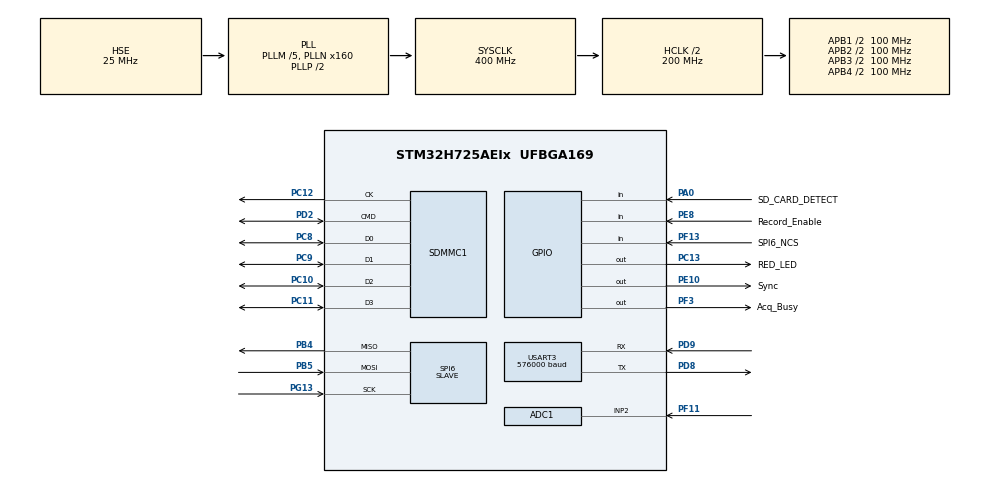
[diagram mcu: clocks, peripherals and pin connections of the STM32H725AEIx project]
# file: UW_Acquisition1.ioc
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ADC1.Channel-0\#ChannelRegularConversion=ADC_CHANNEL_2
ADC1.ClockPrescaler=ADC_CLOCK_ASYNC_DIV4
ADC1.ContinuousConvMode=ENABLE
ADC1.ConversionDataManagement=ADC_CONVERSIONDATA_DMA_CIRCULAR
ADC1.NbrOfConversionFlag=1
ADC1.OffsetNumber-0\#ChannelRegularConversion=ADC_OFFSET_NONE
ADC1.OffsetSignedSaturation-0\#ChannelRegularConversion=DISABLE
ADC1.Rank-0\#ChannelRegularConversion=1
ADC1.SamplingTime-0\#ChannelRegularConversion=ADC_SAMPLETIME_1CYCLE_5
ADC1.master=1
Dma.ADC1.0.Direction=DMA_PERIPH_TO_MEMORY
Dma.ADC1.0.EventEnable=DISABLE
Dma.ADC1.0.FIFOMode=DMA_FIFOMODE_DISABLE
Dma.ADC1.0.Instance=DMA1_Stream0
Dma.ADC1.0.MemDataAlignment=DMA_MDATAALIGN_HALFWORD
Dma.ADC1.0.MemInc=DMA_MINC_ENABLE
Dma.ADC1.0.Mode=DMA_CIRCULAR
Dma.ADC1.0.PeriphDataAlignment=DMA_PDATAALIGN_HALFWORD
Dma.ADC1.0.PeriphInc=DMA_PINC_DISABLE
Dma.ADC1.0.Polarity=HAL_DMAMUX_REQ_GEN_RISING
Dma.ADC1.0.Priority=DMA_PRIORITY_HIGH
Dma.ADC1.0.RequestNumber=1
Dma.ADC1.0.SignalID=NONE
Dma.ADC1.0.SyncEnable=DISABLE
Dma.ADC1.0.SyncPolarity=HAL_DMAMUX_SYNC_NO_EVENT
Dma.ADC1.0.SyncRequestNumber=1
Dma.ADC1.0.SyncSignalID=NONE
Dma.Request0=ADC1
FATFS.BSP.number=1
FATFS.USE_DMA_CODE_SD=1
FATFS._MAX_SS=4096
FATFS._USE_CHMOD=1
FATFS._USE_FIND=1
FATFS._USE_LABEL=1
FATFS0.BSP.STBoard=false
FATFS0.BSP.api=Unknown
FATFS0.BSP.instance=PA0
FATFS0.BSP.ip=GPIO
FATFS0.BSP.mode=Input
FATFS0.BSP.name=Detect_SDIO
FATFS0.BSP.solution=PA0
Mcu.Family=STM32H7
Mcu.Name=STM32H725AEIx
Mcu.Package=UFBGA169
Mdma.MDMA_Channel0.Request0=SDMMC1_END_DATA
Mdma.MDMA_Channel0.RequestsNb=1
Mdma.MDMA_Channel0.SDMMC1_END_DATA.0.BlockCount=0
Mdma.MDMA_Channel0.SDMMC1_END_DATA.0.BlockDataLength=0
Mdma.MDMA_Channel0.SDMMC1_END_DATA.0.BufferTransferLength=1
Mdma.MDMA_Channel0.SDMMC1_END_DATA.0.CircularMode=MDMA_LINEAR_LIST
Mdma.MDMA_Channel0.SDMMC1_END_DATA.0.DataAlignment=MDMA_DATAALIGN_PACKENABLE
Mdma.MDMA_Channel0.SDMMC1_END_DATA.0.DestBlockAddressOffset=0
Mdma.MDMA_Channel0.SDMMC1_END_DATA.0.DestBurst=MDMA_DEST_BURST_SINGLE
Mdma.MDMA_Channel0.SDMMC1_END_DATA.0.DestDataSize=MDMA_DEST_DATASIZE_BYTE
Mdma.MDMA_Channel0.SDMMC1_END_DATA.0.DestinationInc=MDMA_DEST_INC_BYTE
Mdma.MDMA_Channel0.SDMMC1_END_DATA.0.DstAddress=0
Mdma.MDMA_Channel0.SDMMC1_END_DATA.0.Endianness=MDMA_LITTLE_ENDIANNESS_PRESERVE
Mdma.MDMA_Channel0.SDMMC1_END_DATA.0.Instance=MDMA_Channel0
Mdma.MDMA_Channel0.SDMMC1_END_DATA.0.MaskAddress=0
Mdma.MDMA_Channel0.SDMMC1_END_DATA.0.MaskData=0
Mdma.MDMA_Channel0.SDMMC1_END_DATA.0.Priority=MDMA_PRIORITY_LOW
Mdma.MDMA_Channel0.SDMMC1_END_DATA.0.Rank=First
Mdma.MDMA_Channel0.SDMMC1_END_DATA.0.SourceBlockAddressOffset=0
Mdma.MDMA_Channel0.SDMMC1_END_DATA.0.SourceBurst=MDMA_SOURCE_BURST_SINGLE
Mdma.MDMA_Channel0.SDMMC1_END_DATA.0.SourceDataSize=MDMA_SRC_DATASIZE_BYTE
Mdma.MDMA_Channel0.SDMMC1_END_DATA.0.SourceInc=MDMA_SRC_INC_BYTE
Mdma.MDMA_Channel0.SDMMC1_END_DATA.0.SrcAddress=0
Mdma.MDMA_Channel0.SDMMC1_END_DATA.0.TransferTriggerMode=MDMA_BUFFER_TRANSFER
Mdma.RequestSet0=MDMA_Channel0
Mdma.RequestSetsNb=1
NVIC.ADC_IRQn=true\:0\:0\:false\:false\:true\:true\:true\:true
NVIC.DMA1_Stream0_IRQn=true\:0\:0\:false\:false\:true\:false\:true\:true
NVIC.MDMA_IRQn=true\:0\:0\:false\:false\:true\:true\:true\:true
NVIC.PriorityGroup=NVIC_PRIORITYGROUP_4
NVIC.SDMMC1_IRQn=true\:0\:0\:false\:false\:true\:true\:true\:true
NVIC.USART3_IRQn=true\:0\:0\:false\:false\:true\:true\:true\:true
PA0.GPIO_Label=SD_CARD_DETECT
PA0.GPIO_Mode=GPIO_MODE_INPUT
PA0.GPIO_PuPd=GPIO_PULLDOWN
PA0.Signal=GPIO_Input
PB4(NJTRST).Mode=Full_Duplex_Slave
PB4(NJTRST).Signal=SPI6_MISO
PB5.Mode=Full_Duplex_Slave
PB5.Signal=SPI6_MOSI
PC10.Mode=SD_4_bits_Wide_bus
PC10.Signal=SDMMC1_D2
PC11.Mode=SD_4_bits_Wide_bus
PC11.Signal=SDMMC1_D3
PC12.Mode=SD_4_bits_Wide_bus
PC12.Signal=SDMMC1_CK
PC13.GPIO_Label=RED_LED
PC13.Signal=GPIO_Output
PC14-OSC32_IN.Mode=LSE-External-Oscillator
PC14-OSC32_IN.Signal=RCC_OSC32_IN
PC15-OSC32_OUT.Mode=LSE-External-Oscillator
PC15-OSC32_OUT.Signal=RCC_OSC32_OUT
PC8.Mode=SD_4_bits_Wide_bus
PC8.Signal=SDMMC1_D0
PC9.Mode=SD_4_bits_Wide_bus
PC9.Signal=SDMMC1_D1
PD2.Mode=SD_4_bits_Wide_bus
PD2.Signal=SDMMC1_CMD
PD8.Mode=Asynchronous
PD8.Signal=USART3_TX
PD9.Mode=Asynchronous
PD9.Signal=USART3_RX
PE10.GPIO_Label=Sync
PE10.Signal=GPIO_Output
PE8.GPIO_Label=Record_Enable
PE8.GPIO_PuPd=GPIO_PULLDOWN
PE8.Signal=GPIO_Input
PF11.Mode=IN2-Single-Ended
PF11.Signal=ADC1_INP2
PF13.GPIO_Label=SPI6_NCS
PF13.GPIO_Mode=GPIO_MODE_INPUT
PF13.GPIO_PuPd=GPIO_PULLUP
PF13.Signal=GPIO_Input
PF3.GPIO_Label=Acq_Busy
PF3.GPIO_ModeDefaultOutputPP=GPIO_MODE_OUTPUT_PP
PF3.GPIO_PuPd=GPIO_PULLUP
PF3.GPIO_Speed=GPIO_SPEED_FREQ_HIGH
PF3.PinState=GPIO_PIN_SET
PF3.Signal=GPIO_Output
PG13.Mode=Full_Duplex_Slave
PG13.Signal=SPI6_SCK
PH0-OSC_IN.Mode=HSE-External-Oscillator
PH0-OSC_IN.Signal=RCC_OSC_IN
PH1-OSC_OUT.Mode=HSE-External-Oscillator
PH1-OSC_OUT.Signal=RCC_OSC_OUT
ProjectManager.HeapSize=0x200
ProjectManager.StackSize=0x400
ProjectManager.TargetToolchain=STM32CubeIDE
RCC.ADCCLockSelection=RCC_ADCCLKSOURCE_CLKP
RCC.ADCFreq_Value=64000000
RCC.APB1Freq_Value=100000000
RCC.APB2Freq_Value=100000000
RCC.APB3Freq_Value=100000000
RCC.APB4Freq_Value=100000000
RCC.CortexFreq_Value=400000000
RCC.D1PPRE=RCC_APB3_DIV2
RCC.D2PPRE1=RCC_APB1_DIV2
RCC.D2PPRE2=RCC_APB2_DIV2
RCC.D3PPRE=RCC_APB4_DIV2
RCC.DIVM1=5
RCC.DIVM2=5
RCC.DIVN1=160
RCC.DIVN2=150
RCC.DIVQ1=4
RCC.DIVR1=1
RCC.DIVR2=6
RCC.HCLKFreq_Value=200000000
RCC.HPRE=RCC_HCLK_DIV2
RCC.PLL2FRACN=0
RCC.PLL3FRACN=0
RCC.PLL3_VCI_Range-AdvancedSettings=RCC_PLL3VCIRANGE_3
RCC.PLLFRACN=0
RCC.PLLSourceVirtual=RCC_PLLSOURCE_HSE
RCC.SDMMC1CLockSelection=RCC_SDMMCCLKSOURCE_PLL2
RCC.SYSCLKFreq_VALUE=400000000
RCC.SYSCLKSource=RCC_SYSCLKSOURCE_PLLCLK
RCC.USBFreq_Value=200000000
SDMMC1.ClockDiv=2
SPI6.DataSize=SPI_DATASIZE_8BIT
SPI6.Direction=SPI_DIRECTION_2LINES
SPI6.Mode=SPI_MODE_SLAVE
SPI6.VirtualType=VM_SLAVE
USART3.BaudRate=576000
USART3.VirtualMode-Asynchronous=VM_ASYNC
VP_FATFS_VS_SDIO.Mode=SDIO
VP_RTC_VS_RTC_Activate.Mode=RTC_Enabled
VP_RTC_VS_RTC_Calendar.Mode=RTC_Calendar
board=custom

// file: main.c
/* USER CODE BEGIN Header */
/**
 ******************************************************************************
 * @file           : main.c
 * @brief          : Main program body
 ******************************************************************************
 * @attention
 *
 * Copyright (c) 2023 STMicroelectronics.
 * All rights reserved.
 *
 * This software is licensed under terms that can be found in the LICENSE file
 * in the root directory of this software component.
 * If no LICENSE file comes with this software, it is provided AS-IS.
 *
 ******************************************************************************
 */
/* USER CODE END Header */
#include "main.h"
#include "fatfs.h"

/* USER CODE BEGIN Includes */
#include "stdio.h"
#include "string.h"
#include "wav.h"
/* USER CODE END Includes */

/* USER CODE BEGIN PD */
/* ADC -----------------------------------------------------------------------*/
#define ADCBUFLEN 32768
#define BUFFER_FULL 1
#define BUFFER_EMPTY 0
/* SPI Message codes ---------------------------------------------------------*/
#define DIRECTORY 0x00
#define RECORD 0x01
#define STOP 0x02
#define DATETIME 0x03
#define LOCATION  0x04
#define SAVE 0x05
#define FORMAT 0x06
#define DELETE 0x07
#define FILEXFER 0x08

/* USER CODE END PD */

ADC_HandleTypeDef hadc1;
DMA_HandleTypeDef hdma_adc1;

RTC_HandleTypeDef hrtc;

SD_HandleTypeDef hsd1;

SPI_HandleTypeDef hspi6;

UART_HandleTypeDef huart3;

MDMA_HandleTypeDef hmdma_mdma_channel0_sdmmc1_end_data_0;
/* USER CODE BEGIN PV */
/* ADC Variables--------------------------------------------------------------*/
uint16_t adc_buf[ADCBUFLEN];
uint16_t adc_lower_status = BUFFER_EMPTY;
uint16_t adc_upper_status = BUFFER_EMPTY;
uint32_t millisecs_to_record=0;
int sampling_frequency_kHz=0;
uint32_t end_acq_ms;
uint32_t bytes_written=0;
uint32_t bytes_read=0;
uint32_t total_bytes_written=0;
uint32_t total_blocks_written=0;
uint32_t read_value=0;
uint32_t adcbuf_index=0;

uint16_t max_save_time_ms;
uint16_t start_time_ms,ms_taken;
uint32_t save_times[400];
int ADC_overrun =0; // set as FALSE
int overrun_count;

/* SD Card FatFS Variables-----------------------------------------------------*/
FRESULT result; /* FatFs function common result code */
FILINFO fno;
char full_path_name[256];
char filename[20];
char fullfilename[20];
char filenumber[6];
char filenametosave[15];
char filenametodelete[15];

FATFS *fs;
DWORD fre_clust, fre_sect, tot_sect;

BYTE work[_MAX_SS]; // for formatting SD

char *SD_Directory2;
int directory_lines=5;
char SD_space_description[150];

uint16_t current_max_filenumber=0;
uint32_t filelength;
uint16_t filereadint;
uint32_t file_byte_count=0;
int16_t filevalue;

/* SPI Variables---------------------------------------------------------------*/
char SPI_buffer[20];
uint16_t SPI_Buffer[4];
uint16_t SPI6_NCS;
uint16_t previous_CS;
uint16_t current_CS;

/* WAV File--------------------------------------------------------------------*/
/*
 * Structure of Header and header variable
 */
typedef struct wavfile_header_s
{
	char    ChunkID[4];     /*  4   */
	uint32_t ChunkSize;      /*  4   */
	char    Format[4];      /*  4   */

	char    Subchunk1ID[4]; /*  4   */
	uint32_t Subchunk1Size;  /*  4   */
	uint16_t AudioFormat;    /*  2   */
	uint16_t NumChannels;    /*  2   */
	uint32_t SampleRate;     /*  4   */
	uint32_t ByteRate;       /*  4   */
	uint16_t BlockAlign;     /*  2   */
	uint16_t BitsPerSample;  /*  2   */

	char    Subchunk2ID[4];
	uint32_t Subchunk2Size;
} wavfile_header_t;

/* RTC Variables---------------------------------------------------------------*/
RTC_DateTypeDef gDate;
RTC_TimeTypeDef gTime;

/* USER CODE END PV */

void SystemClock_Config(void);
void PeriphCommonClock_Config(void);
static void MX_GPIO_Init(void);
static void MX_MDMA_Init(void);
static void MX_DMA_Init(void);
static void MX_ADC1_Init(void);
static void MX_SDMMC1_SD_Init(void);
static void MX_USART3_UART_Init(void);
static void MX_SPI6_Init(void);
static void MX_RTC_Init(void);
/* USER CODE BEGIN PFP */
FRESULT print_file_values(char *filename );
FRESULT scan_for_latest_file (char* path);
FRESULT get_SD_directory (char* path);
FRESULT print_file(char *filename);
int write_wav_header(int32_t SampleRate,int32_t FrameCount);
void directory_request_handler();
void recording_request_handler();
void save_request_handler();
void datetime_request_handler();
void delete_file_handler();
void set_ADC_clock_prescalar(int sampling_fr);
void file_transfer_request_handler();

/* USER CODE END PFP */

int main(void)
{
  /* USER CODE BEGIN 1 */
	/* ADC Testing and writing to SD Card*/
  /* USER CODE END 1 */

  /* MCU Configuration--------------------------------------------------------*/

  /* Reset of all peripherals, Initializes the Flash interface and the Systick. */
  HAL_Init();

  /* Configure the system clock */
  SystemClock_Config();

/* Configure the peripherals common clocks */
  PeriphCommonClock_Config();

  /* Initialize all configured peripherals */
  MX_GPIO_Init();
  MX_MDMA_Init();
  MX_DMA_Init();
  MX_ADC1_Init();
  MX_SDMMC1_SD_Init();
  MX_FATFS_Init();
  MX_USART3_UART_Init();
  MX_SPI6_Init();
  MX_RTC_Init();
  /* USER CODE BEGIN 2 */

	printf("\r\nProgram Start\r\n");

	// Let's check the file system and mount it
	f_mount(0, "", 0);
	if(f_mount(&SDFatFS, (TCHAR const*)SDPath, 0) != FR_OK)
	{
		printf("PANIC: Cannot mount SD Card\r\n");
		for(;;){}
	}
	// Scan to find largest file number
	strcpy(full_path_name, "/");
	if(scan_for_latest_file(full_path_name) != FR_OK)
	{
		printf("PANIC: Cannot scan SD card\r\n");
		for(;;){}
	}

	HAL_GPIO_WritePin(Acq_Busy_GPIO_Port, Acq_Busy_Pin, GPIO_PIN_RESET);  // Tell the RASPI we are Not Busy
	previous_CS=HAL_GPIO_ReadPin (SPI6_NCS_GPIO_Port, SPI6_NCS_Pin);  // Need to detect and wait for change in SPI CS (Chip Select)
	current_CS = previous_CS;

	for(;;){
		HAL_GPIO_WritePin(Acq_Busy_GPIO_Port, Acq_Busy_Pin, GPIO_PIN_RESET);  // Tell RASPI we are Ready
		current_CS=HAL_GPIO_ReadPin (SPI6_NCS_GPIO_Port, SPI6_NCS_Pin);

		if(previous_CS && !current_CS){
			HAL_SPI_Receive(&hspi6, (uint8_t *)SPI_buffer, 8, 100);
			HAL_GPIO_WritePin(Acq_Busy_GPIO_Port, Acq_Busy_Pin, GPIO_PIN_SET);  // Tell the RASPI we are Busy
			printf("%02x %02x %02x %02x %02x %02x %02x %02x\r\n",SPI_buffer[0],SPI_buffer[1],SPI_buffer[2],SPI_buffer[3],SPI_buffer[4],SPI_buffer[5],SPI_buffer[6],SPI_buffer[7]);
			switch(SPI_buffer[0]){

			case DIRECTORY:
				printf("SD Directory Request\r\n");
				directory_request_handler();
				break;

			case RECORD:
				printf("Recording Request\r\n");
				recording_request_handler();
				break;

			case SAVE:
				printf("Save\r\n");
				save_request_handler();
				break;

			case DATETIME:
				printf("Set DateTime\r\n");
				datetime_request_handler();
				break;

			case STOP: // Not supported
				printf("Stop   ");
				break;

			case LOCATION:// Not supported
				printf("Location\r\n");
				break;

			case FORMAT:// Format SD card
				printf("Format SD - Sector size %d\r\n",sizeof(work));
				result= f_mkfs("", FM_ANY, 0, work, sizeof(work));
				current_max_filenumber=1;
				break;

			case DELETE:// Delete file
				printf("Delete File\r\n");
				delete_file_handler();
				break;

			case FILEXFER:
				printf("File Transfer\r\n");
				file_transfer_request_handler();
				break;
			}
		}
		previous_CS=current_CS;

	}
  /* USER CODE END 2 */

  /* Infinite loop */

}

void SystemClock_Config(void)
{
  RCC_OscInitTypeDef RCC_OscInitStruct = {0};
  RCC_ClkInitTypeDef RCC_ClkInitStruct = {0};

  /** Supply configuration update enable
  */
  HAL_PWREx_ConfigSupply(PWR_DIRECT_SMPS_SUPPLY);

  /** Configure the main internal regulator output voltage
  */
  __HAL_PWR_VOLTAGESCALING_CONFIG(PWR_REGULATOR_VOLTAGE_SCALE1);

  while(!__HAL_PWR_GET_FLAG(PWR_FLAG_VOSRDY)) {}

  /** Initializes the RCC Oscillators according to the specified parameters
  * in the RCC_OscInitTypeDef structure.
  */
  RCC_OscInitStruct.OscillatorType = RCC_OSCILLATORTYPE_HSI|RCC_OSCILLATORTYPE_LSI
                              |RCC_OSCILLATORTYPE_HSE;
  RCC_OscInitStruct.HSEState = RCC_HSE_ON;
  RCC_OscInitStruct.HSIState = RCC_HSI_DIV1;
  RCC_OscInitStruct.HSICalibrationValue = 64;
  RCC_OscInitStruct.LSIState = RCC_LSI_ON;
  RCC_OscInitStruct.PLL.PLLState = RCC_PLL_ON;
  RCC_OscInitStruct.PLL.PLLSource = RCC_PLLSOURCE_HSE;
  RCC_OscInitStruct.PLL.PLLM = 5;
  RCC_OscInitStruct.PLL.PLLN = 160;
  RCC_OscInitStruct.PLL.PLLP = 2;
  RCC_OscInitStruct.PLL.PLLQ = 4;
  RCC_OscInitStruct.PLL.PLLR = 1;
  RCC_OscInitStruct.PLL.PLLRGE = RCC_PLL1VCIRANGE_2;
  RCC_OscInitStruct.PLL.PLLVCOSEL = RCC_PLL1VCOWIDE;
  RCC_OscInitStruct.PLL.PLLFRACN = 0;
  if (HAL_RCC_OscConfig(&RCC_OscInitStruct) != HAL_OK)
  {
    Error_Handler();
  }

  /** Initializes the CPU, AHB and APB buses clocks
  */
  RCC_ClkInitStruct.ClockType = RCC_CLOCKTYPE_HCLK|RCC_CLOCKTYPE_SYSCLK
                              |RCC_CLOCKTYPE_PCLK1|RCC_CLOCKTYPE_PCLK2
                              |RCC_CLOCKTYPE_D3PCLK1|RCC_CLOCKTYPE_D1PCLK1;
  RCC_ClkInitStruct.SYSCLKSource = RCC_SYSCLKSOURCE_PLLCLK;
  RCC_ClkInitStruct.SYSCLKDivider = RCC_SYSCLK_DIV1;
  RCC_ClkInitStruct.AHBCLKDivider = RCC_HCLK_DIV2;
  RCC_ClkInitStruct.APB3CLKDivider = RCC_APB3_DIV2;
  RCC_ClkInitStruct.APB1CLKDivider = RCC_APB1_DIV2;
  RCC_ClkInitStruct.APB2CLKDivider = RCC_APB2_DIV2;
  RCC_ClkInitStruct.APB4CLKDivider = RCC_APB4_DIV2;

  if (HAL_RCC_ClockConfig(&RCC_ClkInitStruct, FLASH_LATENCY_2) != HAL_OK)
  {
    Error_Handler();
  }
}

void PeriphCommonClock_Config(void)
{
  RCC_PeriphCLKInitTypeDef PeriphClkInitStruct = {0};

  /** Initializes the peripherals clock
  */
  PeriphClkInitStruct.PeriphClockSelection = RCC_PERIPHCLK_CKPER;
  PeriphClkInitStruct.CkperClockSelection = RCC_CLKPSOURCE_HSI;
  if (HAL_RCCEx_PeriphCLKConfig(&PeriphClkInitStruct) != HAL_OK)
  {
    Error_Handler();
  }
}

static void MX_ADC1_Init(void)
{

  ADC_MultiModeTypeDef multimode = {0};
  ADC_ChannelConfTypeDef sConfig = {0};

  /** Common config
  */
  hadc1.Instance = ADC1;
  hadc1.Init.ClockPrescaler = ADC_CLOCK_ASYNC_DIV4;
  hadc1.Init.Resolution = ADC_RESOLUTION_16B;
  hadc1.Init.ScanConvMode = ADC_SCAN_DISABLE;
  hadc1.Init.EOCSelection = ADC_EOC_SINGLE_CONV;
  hadc1.Init.LowPowerAutoWait = DISABLE;
  hadc1.Init.ContinuousConvMode = ENABLE;
  hadc1.Init.NbrOfConversion = 1;
  hadc1.Init.DiscontinuousConvMode = DISABLE;
  hadc1.Init.ExternalTrigConv = ADC_SOFTWARE_START;
  hadc1.Init.ExternalTrigConvEdge = ADC_EXTERNALTRIGCONVEDGE_NONE;
  hadc1.Init.ConversionDataManagement = ADC_CONVERSIONDATA_DMA_CIRCULAR;
  hadc1.Init.Overrun = ADC_OVR_DATA_PRESERVED;
  hadc1.Init.LeftBitShift = ADC_LEFTBITSHIFT_NONE;
  hadc1.Init.OversamplingMode = DISABLE;
  if (HAL_ADC_Init(&hadc1) != HAL_OK)
  {
    Error_Handler();
  }

  /** Configure the ADC multi-mode
  */
  multimode.Mode = ADC_MODE_INDEPENDENT;
  if (HAL_ADCEx_MultiModeConfigChannel(&hadc1, &multimode) != HAL_OK)
  {
    Error_Handler();
  }

  /** Configure Regular Channel
  */
  sConfig.Channel = ADC_CHANNEL_2;
  sConfig.Rank = ADC_REGULAR_RANK_1;
  sConfig.SamplingTime = ADC_SAMPLETIME_1CYCLE_5;
  sConfig.SingleDiff = ADC_SINGLE_ENDED;
  sConfig.OffsetNumber = ADC_OFFSET_NONE;
  sConfig.Offset = 0;
  sConfig.OffsetSignedSaturation = DISABLE;
  if (HAL_ADC_ConfigChannel(&hadc1, &sConfig) != HAL_OK)
  {
    Error_Handler();
  }

}

static void MX_RTC_Init(void)
{

  RTC_TimeTypeDef sTime = {0};
  RTC_DateTypeDef sDate = {0};

  /** Initialize RTC Only
  */
  hrtc.Instance = RTC;
  hrtc.Init.HourFormat = RTC_HOURFORMAT_24;
  hrtc.Init.AsynchPrediv = 127;
  hrtc.Init.SynchPrediv = 255;
  hrtc.Init.OutPut = RTC_OUTPUT_DISABLE;
  hrtc.Init.OutPutPolarity = RTC_OUTPUT_POLARITY_HIGH;
  hrtc.Init.OutPutType = RTC_OUTPUT_TYPE_OPENDRAIN;
  hrtc.Init.OutPutRemap = RTC_OUTPUT_REMAP_NONE;
  if (HAL_RTC_Init(&hrtc) != HAL_OK)
  {
    Error_Handler();
  }

  /** Initialize RTC and set the Time and Date
  */
  sTime.Hours = 0x0;
  sTime.Minutes = 0x0;
  sTime.Seconds = 0x0;
  sTime.DayLightSaving = RTC_DAYLIGHTSAVING_NONE;
  sTime.StoreOperation = RTC_STOREOPERATION_RESET;
  if (HAL_RTC_SetTime(&hrtc, &sTime, RTC_FORMAT_BCD) != HAL_OK)
  {
    Error_Handler();
  }
  sDate.WeekDay = RTC_WEEKDAY_MONDAY;
  sDate.Month = RTC_MONTH_JANUARY;
  sDate.Date = 0x1;
  sDate.Year = 0x0;

  if (HAL_RTC_SetDate(&hrtc, &sDate, RTC_FORMAT_BCD) != HAL_OK)
  {
    Error_Handler();
  }

}

static void MX_SDMMC1_SD_Init(void)
{

  hsd1.Instance = SDMMC1;
  hsd1.Init.ClockEdge = SDMMC_CLOCK_EDGE_RISING;
  hsd1.Init.ClockPowerSave = SDMMC_CLOCK_POWER_SAVE_DISABLE;
  hsd1.Init.BusWide = SDMMC_BUS_WIDE_4B;
  hsd1.Init.HardwareFlowControl = SDMMC_HARDWARE_FLOW_CONTROL_DISABLE;
  hsd1.Init.ClockDiv = 2;

}

static void MX_SPI6_Init(void)
{

  /* SPI6 parameter configuration*/
  hspi6.Instance = SPI6;
  hspi6.Init.Mode = SPI_MODE_SLAVE;
  hspi6.Init.Direction = SPI_DIRECTION_2LINES;
  hspi6.Init.DataSize = SPI_DATASIZE_8BIT;
  hspi6.Init.CLKPolarity = SPI_POLARITY_LOW;
  hspi6.Init.CLKPhase = SPI_PHASE_1EDGE;
  hspi6.Init.NSS = SPI_NSS_SOFT;
  hspi6.Init.FirstBit = SPI_FIRSTBIT_MSB;
  hspi6.Init.TIMode = SPI_TIMODE_DISABLE;
  hspi6.Init.CRCCalculation = SPI_CRCCALCULATION_DISABLE;
  hspi6.Init.CRCPolynomial = 0x0;
  hspi6.Init.NSSPMode = SPI_NSS_PULSE_DISABLE;
  hspi6.Init.NSSPolarity = SPI_NSS_POLARITY_LOW;
  hspi6.Init.FifoThreshold = SPI_FIFO_THRESHOLD_01DATA;
  hspi6.Init.TxCRCInitializationPattern = SPI_CRC_INITIALIZATION_ALL_ZERO_PATTERN;
  hspi6.Init.RxCRCInitializationPattern = SPI_CRC_INITIALIZATION_ALL_ZERO_PATTERN;
  hspi6.Init.MasterSSIdleness = SPI_MASTER_SS_IDLENESS_00CYCLE;
  hspi6.Init.MasterInterDataIdleness = SPI_MASTER_INTERDATA_IDLENESS_00CYCLE;
  hspi6.Init.MasterReceiverAutoSusp = SPI_MASTER_RX_AUTOSUSP_DISABLE;
  hspi6.Init.MasterKeepIOState = SPI_MASTER_KEEP_IO_STATE_DISABLE;
  hspi6.Init.IOSwap = SPI_IO_SWAP_DISABLE;
  if (HAL_SPI_Init(&hspi6) != HAL_OK)
  {
    Error_Handler();
  }

}

static void MX_USART3_UART_Init(void)
{

  huart3.Instance = USART3;
  huart3.Init.BaudRate = 576000;
  huart3.Init.WordLength = UART_WORDLENGTH_8B;
  huart3.Init.StopBits = UART_STOPBITS_1;
  huart3.Init.Parity = UART_PARITY_NONE;
  huart3.Init.Mode = UART_MODE_TX_RX;
  huart3.Init.HwFlowCtl = UART_HWCONTROL_NONE;
  huart3.Init.OverSampling = UART_OVERSAMPLING_16;
  huart3.Init.OneBitSampling = UART_ONE_BIT_SAMPLE_DISABLE;
  huart3.Init.ClockPrescaler = UART_PRESCALER_DIV1;
  huart3.AdvancedInit.AdvFeatureInit = UART_ADVFEATURE_NO_INIT;
  if (HAL_UART_Init(&huart3) != HAL_OK)
  {
    Error_Handler();
  }
  if (HAL_UARTEx_SetTxFifoThreshold(&huart3, UART_TXFIFO_THRESHOLD_1_8) != HAL_OK)
  {
    Error_Handler();
  }
  if (HAL_UARTEx_SetRxFifoThreshold(&huart3, UART_RXFIFO_THRESHOLD_1_8) != HAL_OK)
  {
    Error_Handler();
  }
  if (HAL_UARTEx_DisableFifoMode(&huart3) != HAL_OK)
  {
    Error_Handler();
  }

}

static void MX_DMA_Init(void)
{

  /* DMA controller clock enable */
  __HAL_RCC_DMA1_CLK_ENABLE();

  /* DMA interrupt init */
  /* DMA1_Stream0_IRQn interrupt configuration */
  HAL_NVIC_SetPriority(DMA1_Stream0_IRQn, 0, 0);
  HAL_NVIC_EnableIRQ(DMA1_Stream0_IRQn);

}

/**
  * Enable MDMA controller clock
  * Configure MDMA for global transfers
  *   hmdma_mdma_channel0_sdmmc1_end_data_0
  */
static void MX_MDMA_Init(void)
{

  /* MDMA controller clock enable */
  __HAL_RCC_MDMA_CLK_ENABLE();
  /* Local variables */

  /* Configure MDMA channel MDMA_Channel0 */
  /* Configure MDMA request hmdma_mdma_channel0_sdmmc1_end_data_0 on MDMA_Channel0 */
  hmdma_mdma_channel0_sdmmc1_end_data_0.Instance = MDMA_Channel0;
  hmdma_mdma_channel0_sdmmc1_end_data_0.Init.Request = MDMA_REQUEST_SDMMC1_END_DATA;
  hmdma_mdma_channel0_sdmmc1_end_data_0.Init.TransferTriggerMode = MDMA_BUFFER_TRANSFER;
  hmdma_mdma_channel0_sdmmc1_end_data_0.Init.Priority = MDMA_PRIORITY_LOW;
  hmdma_mdma_channel0_sdmmc1_end_data_0.Init.Endianness = MDMA_LITTLE_ENDIANNESS_PRESERVE;
  hmdma_mdma_channel0_sdmmc1_end_data_0.Init.SourceInc = MDMA_SRC_INC_BYTE;
  hmdma_mdma_channel0_sdmmc1_end_data_0.Init.DestinationInc = MDMA_DEST_INC_BYTE;
  hmdma_mdma_channel0_sdmmc1_end_data_0.Init.SourceDataSize = MDMA_SRC_DATASIZE_BYTE;
  hmdma_mdma_channel0_sdmmc1_end_data_0.Init.DestDataSize = MDMA_DEST_DATASIZE_BYTE;
  hmdma_mdma_channel0_sdmmc1_end_data_0.Init.DataAlignment = MDMA_DATAALIGN_PACKENABLE;
  hmdma_mdma_channel0_sdmmc1_end_data_0.Init.BufferTransferLength = 1;
  hmdma_mdma_channel0_sdmmc1_end_data_0.Init.SourceBurst = MDMA_SOURCE_BURST_SINGLE;
  hmdma_mdma_channel0_sdmmc1_end_data_0.Init.DestBurst = MDMA_DEST_BURST_SINGLE;
  hmdma_mdma_channel0_sdmmc1_end_data_0.Init.SourceBlockAddressOffset = 0;
  hmdma_mdma_channel0_sdmmc1_end_data_0.Init.DestBlockAddressOffset = 0;
  if (HAL_MDMA_Init(&hmdma_mdma_channel0_sdmmc1_end_data_0) != HAL_OK)
  {
    Error_Handler();
  }

  /* Configure post request address and data masks */
  if (HAL_MDMA_ConfigPostRequestMask(&hmdma_mdma_channel0_sdmmc1_end_data_0, 0, 0) != HAL_OK)
  {
    Error_Handler();
  }

  /* MDMA interrupt initialization */
  /* MDMA_IRQn interrupt configuration */
  HAL_NVIC_SetPriority(MDMA_IRQn, 0, 0);
  HAL_NVIC_EnableIRQ(MDMA_IRQn);

}

static void MX_GPIO_Init(void)
{
  GPIO_InitTypeDef GPIO_InitStruct = {0};

  /* GPIO Ports Clock Enable */
  __HAL_RCC_GPIOC_CLK_ENABLE();
  __HAL_RCC_GPIOB_CLK_ENABLE();
  __HAL_RCC_GPIOG_CLK_ENABLE();
  __HAL_RCC_GPIOF_CLK_ENABLE();
  __HAL_RCC_GPIOD_CLK_ENABLE();
  __HAL_RCC_GPIOH_CLK_ENABLE();
  __HAL_RCC_GPIOE_CLK_ENABLE();
  __HAL_RCC_GPIOA_CLK_ENABLE();

  /*Configure GPIO pin Output Level */
  HAL_GPIO_WritePin(RED_LED_GPIO_Port, RED_LED_Pin, GPIO_PIN_RESET);

  /*Configure GPIO pin Output Level */
  HAL_GPIO_WritePin(Acq_Busy_GPIO_Port, Acq_Busy_Pin, GPIO_PIN_SET);

  /*Configure GPIO pin Output Level */
  HAL_GPIO_WritePin(Sync_GPIO_Port, Sync_Pin, GPIO_PIN_RESET);

  /*Configure GPIO pin : RED_LED_Pin */
  GPIO_InitStruct.Pin = RED_LED_Pin;
  GPIO_InitStruct.Mode = GPIO_MODE_OUTPUT_PP;
  GPIO_InitStruct.Pull = GPIO_NOPULL;
  GPIO_InitStruct.Speed = GPIO_SPEED_FREQ_LOW;
  HAL_GPIO_Init(RED_LED_GPIO_Port, &GPIO_InitStruct);

  /*Configure GPIO pin : Acq_Busy_Pin */
  GPIO_InitStruct.Pin = Acq_Busy_Pin;
  GPIO_InitStruct.Mode = GPIO_MODE_OUTPUT_PP;
  GPIO_InitStruct.Pull = GPIO_PULLUP;
  GPIO_InitStruct.Speed = GPIO_SPEED_FREQ_HIGH;
  HAL_GPIO_Init(Acq_Busy_GPIO_Port, &GPIO_InitStruct);

  /*Configure GPIO pin : SPI6_NCS_Pin */
  GPIO_InitStruct.Pin = SPI6_NCS_Pin;
  GPIO_InitStruct.Mode = GPIO_MODE_INPUT;
  GPIO_InitStruct.Pull = GPIO_PULLUP;
  HAL_GPIO_Init(SPI6_NCS_GPIO_Port, &GPIO_InitStruct);

  /*Configure GPIO pin : Record_Enable_Pin */
  GPIO_InitStruct.Pin = Record_Enable_Pin;
  GPIO_InitStruct.Mode = GPIO_MODE_INPUT;
  GPIO_InitStruct.Pull = GPIO_PULLDOWN;
  HAL_GPIO_Init(Record_Enable_GPIO_Port, &GPIO_InitStruct);

  /*Configure GPIO pin : SD_CARD_DETECT_Pin */
  GPIO_InitStruct.Pin = SD_CARD_DETECT_Pin;
  GPIO_InitStruct.Mode = GPIO_MODE_INPUT;
  GPIO_InitStruct.Pull = GPIO_PULLDOWN;
  HAL_GPIO_Init(SD_CARD_DETECT_GPIO_Port, &GPIO_InitStruct);

  /*Configure GPIO pin : Sync_Pin */
  GPIO_InitStruct.Pin = Sync_Pin;
  GPIO_InitStruct.Mode = GPIO_MODE_OUTPUT_PP;
  GPIO_InitStruct.Pull = GPIO_NOPULL;
  GPIO_InitStruct.Speed = GPIO_SPEED_FREQ_LOW;
  HAL_GPIO_Init(Sync_GPIO_Port, &GPIO_InitStruct);

}

/* USER CODE BEGIN 4 */
int _write(int file, char *ptr, int len)
{
	(void)file;
	int DataIdx;

	for (DataIdx = 0; DataIdx < len; DataIdx++)
	{
		HAL_UART_Transmit(&huart3,(uint8_t*)ptr++,1,1);// Sending in normal mode
	}
	return len;
}

void HAL_ADC_ConvHalfCpltCallback(ADC_HandleTypeDef* hadc)
{
	//	HAL_GPIO_WritePin(Sync_GPIO_Port, Sync_Pin, GPIO_PIN_SET);
	adc_lower_status = BUFFER_FULL;
	if(adc_upper_status == BUFFER_FULL)  // Overflow detect
	{
		HAL_GPIO_WritePin(RED_LED_GPIO_Port, RED_LED_Pin, GPIO_PIN_SET);
		ADC_overrun=1; //Set overrun flag
	}
}

void HAL_ADC_ConvCpltCallback(ADC_HandleTypeDef* hadc)
{
	//	HAL_GPIO_WritePin(Sync_GPIO_Port, Sync_Pin, GPIO_PIN_RESET);
	adc_upper_status = BUFFER_FULL;
	if(adc_lower_status == BUFFER_FULL)  // Overflow detect
	{
		HAL_GPIO_WritePin(RED_LED_GPIO_Port, RED_LED_Pin, GPIO_PIN_SET);
		ADC_overrun=1; //Set overrun flag
	}
	//
}

FRESULT scan_for_latest_file (
		char* path        /* Start node to be scanned (***also used as work area***) */
)
{
	FRESULT res;
	DIR dir;
	UINT i;
	static FILINFO fno;
	int this_filenumber;
	char partstring[15];

	res = f_opendir(&dir, path);                       /* Open the directory */
	if (res == FR_OK) {
		for (;;) {
			res = f_readdir(&dir, &fno);                   /* Read a directory item */
			if (res != FR_OK || fno.fname[0] == 0) break;  /* Break on error or end of dir */
			if (fno.fattrib & AM_DIR) {                    /* It is a directory */
				i = strlen(path);
				sprintf(&path[i], "/%s", fno.fname);
				res = scan_for_latest_file(path);                    /* Enter the directory */
				if (res != FR_OK) break;
				path[i] = 0;
			} else {                                       /* It is a file. */
				if (strstr(fno.fname, "FILE") != NULL) {
					partstring[0]=fno.fname[4];
					partstring[1]=fno.fname[5];
					partstring[2]=fno.fname[6];
					partstring[3]=fno.fname[7];
					partstring[4]=0;
					this_filenumber = atoi(partstring);
					if(this_filenumber > current_max_filenumber){
						current_max_filenumber =this_filenumber;
					}
				}
			}
		}
		f_closedir(&dir);
	}

	return res;
}

FRESULT get_SD_directory (char* path)        /* Start node to be scanned (***also used as work area***) */
{
	FRESULT res;
	DIR dir;
	UINT i;
	static FILINFO fno;
	char this_file[100];

	res = f_opendir(&dir, path);                       /* Open the directory */
	if (res == FR_OK) {
		for (;;) {
			res = f_readdir(&dir, &fno);                   /* Read a directory item */
			if (res != FR_OK || fno.fname[0] == 0) break;  /* Break on error or end of dir */
			if (fno.fattrib & AM_DIR) {                    /* It is a directory */
				i = strlen(path);
				sprintf(&path[i], "/%s", fno.fname);
				res = get_SD_directory(path);                    /* Enter the directory */
				if (res != FR_OK) break;
				path[i] = 0;
			} else {                                       /* It is a file. */
				sprintf(&this_file[0],"%s/%s\t%ld\t%u-%02u-%02u\t%02u:%02u\r\n", path, fno.fname,fno.fsize,(fno.fdate >> 9) + 1980, fno.fdate >> 5 & 15, fno.fdate & 31,fno.ftime >> 11, fno.ftime >> 5 & 63);
				SD_Directory2 = realloc(SD_Directory2, 100 * directory_lines++ );
				if( SD_Directory2 == NULL ) {
					printf("PANIC: unable to allocate required memory\r\n");
				} else {
					strcat( SD_Directory2, this_file);
				}
			}
		}
		f_closedir(&dir);
	}
	return res;
}

FRESULT print_file_values(char *filename )
{
	if(f_open(&SDFile, filename, FA_READ) != FR_OK)
	{
		Error_Handler();
	}
	else
	{
		uint32_t samples =22000;
		uint32_t k;
		struct wavfile_header_s wav_header;

		// Read out the header
		result = f_read(&SDFile, &wav_header,sizeof(wavfile_header_t) , (void *)&bytes_read);
		if((bytes_read == 0) || (result != FR_OK))
		{
			Error_Handler();
		}
		else
		{
			printf("WAV File Header read out \r\n");
		}

		for (k=0;k<samples;k++)
		{
			result = f_read(&SDFile, &read_value,2 , (void *)&bytes_read);
			if((bytes_read == 0) || (result != FR_OK))
			{
				Error_Handler();
			}
			else
			{
				printf("%d \r\n",(int)read_value);
			}
		}
	}
	f_close(&SDFile);
	return FR_OK;
}

FRESULT print_file(char *filename )
{
	char read_buff[16];
	uint32_t row_address =0;
	uint32_t this_byte=0;
	char this_character;

	if(f_open(&SDFile, filename, FA_READ) != FR_OK)
	{
		Error_Handler();
	}
	else
	{
		for(row_address=0;row_address<128;row_address=row_address+16)
		{
			result = f_read(&SDFile, &read_buff,16 , (void *)&bytes_read);
			if ((bytes_read == 0) || (result != FR_OK))
			{
				Error_Handler();
			}
			else
			{
				printf("%08X ",(unsigned int)row_address);
				for(this_byte=0;this_byte<16;this_byte=this_byte+1)
				{
					printf("%02X ", read_buff[this_byte]);
				}
				printf(" ");
				for(this_byte=0;this_byte<16;this_byte=this_byte+1)
				{
					this_character = (char)read_buff[this_byte];
					if((this_character < 32 ) || (this_character>127))
					{
						this_character='.';
					}
					printf("%c ", this_character);
				}
				printf(" ");
				printf("\r\n");
			}
		}
		f_close(&SDFile);
	}
	return result;
}

void recording_request_handler(){
	if((SPI_buffer[6]<<8)+SPI_buffer[7] ==0){
		sprintf(filename,"FILE%04d.DAT", ++current_max_filenumber);
	}
	else{
		sprintf(filename,"FILE%04d.DAT", (SPI_buffer[6]<<8)+SPI_buffer[7]);
	}
	millisecs_to_record = (SPI_buffer[4]<<8)+SPI_buffer[5];
	sampling_frequency_kHz = ((SPI_buffer[1]<<8)+SPI_buffer[2]);

	printf("Record: Sampling %3dkHz  Gain %1d   Duration %lumS  %12s \r\n", sampling_frequency_kHz, SPI_buffer[3], millisecs_to_record,filename);

	if(f_open(&SDFile, filename, FA_CREATE_ALWAYS | FA_WRITE) != FR_OK)  //Open file for writing (Create)
	{
		printf("FAIL: Cannot open file for recording\r\n");
	}
	else
	{
		write_wav_header(sampling_frequency_kHz*1000,2*sampling_frequency_kHz*millisecs_to_record); 							// Write WAV Header Sampling at 786000 Hz
		for(adcbuf_index=0;adcbuf_index < ADCBUFLEN;adcbuf_index++) // Clear ADC Buffer
		{
			adc_buf[adcbuf_index]=0;
		}
		total_blocks_written=0;
		total_bytes_written=0;
		adc_lower_status = BUFFER_EMPTY;
		adc_upper_status = BUFFER_EMPTY;
		overrun_count=0;
		max_save_time_ms=0;
		HAL_GPIO_WritePin(RED_LED_GPIO_Port, RED_LED_Pin, GPIO_PIN_RESET);
		set_ADC_clock_prescalar(sampling_frequency_kHz);
		HAL_ADC_Start_DMA(&hadc1, (uint32_t*)adc_buf, ADCBUFLEN); 	// Enable ADC DMA and add contents
		end_acq_ms=uwTick+millisecs_to_record;
		do{
			if(adc_lower_status == BUFFER_FULL)
			{
				start_time_ms=uwTick;
				f_write(&SDFile, &adc_buf[0], ADCBUFLEN, (void *)&bytes_written);
				ms_taken=uwTick-start_time_ms;
				if(ms_taken > max_save_time_ms){
					max_save_time_ms = ms_taken;
				}
				total_bytes_written = total_bytes_written+bytes_written;
				adc_lower_status = BUFFER_EMPTY;
				total_blocks_written++;
				if(ADC_overrun){
					HAL_ADC_Stop_DMA(&hadc1);
					f_write(&SDFile, &adc_buf[ADCBUFLEN/2], ADCBUFLEN, (void *)&bytes_written);
					total_bytes_written = total_bytes_written+bytes_written;
					adc_upper_status = BUFFER_EMPTY;
					total_blocks_written++;
					ADC_overrun=0;
					overrun_count++;
					HAL_ADC_Start_DMA(&hadc1, (uint32_t*)adc_buf, ADCBUFLEN); 	// Enable ADC DMA and add contents
				}
			}
			if(adc_upper_status == BUFFER_FULL)
			{
				start_time_ms=uwTick;
				f_write(&SDFile, &adc_buf[ADCBUFLEN/2], ADCBUFLEN, (void *)&bytes_written);
				ms_taken=uwTick-start_time_ms;
				if(ms_taken > max_save_time_ms){
					max_save_time_ms = ms_taken;
				}
				total_bytes_written = total_bytes_written+bytes_written;
				adc_upper_status = BUFFER_EMPTY;
				total_blocks_written++;
				if(ADC_overrun){
					HAL_ADC_Stop_DMA(&hadc1);
					f_write(&SDFile, &adc_buf[0], ADCBUFLEN, (void *)&bytes_written);
					total_bytes_written = total_bytes_written+bytes_written;
					adc_lower_status = BUFFER_EMPTY;
					total_blocks_written++;
					ADC_overrun=0;
					overrun_count++;
					HAL_ADC_Start_DMA(&hadc1, (uint32_t*)adc_buf, ADCBUFLEN); 	// Enable ADC DMA and add contents
				}
			}
		}
		while(uwTick< end_acq_ms);
		HAL_ADC_Stop_DMA(&hadc1);   								// Halt ADC DMA

		// Now update WAV file with data length
		f_lseek(&SDFile,0x28);
		f_write(&SDFile,&total_bytes_written, 4, (void *)&bytes_written);

		f_close(&SDFile);  											// Writing complete so close file
		printf("Recording Complete.  Total Blocks Written %lu  Total Bytes Written %lu MaxSaveTime %d  Overruns %d\r\n",total_blocks_written,total_bytes_written,max_save_time_ms,overrun_count);

		strcpy(fullfilename,"//");
		strcat(fullfilename,filename);
		HAL_RTC_GetTime(&hrtc, &gTime, RTC_FORMAT_BIN);				/* Get the RTC current Date */
		HAL_RTC_GetDate(&hrtc, &gDate, RTC_FORMAT_BIN);				/* Display time Format: hh:mm:ss */
		fno.fdate = (WORD)(((gDate.Year+20) * 512U) | gDate.Month * 32U | gDate.Date);
		fno.ftime = (WORD)(gTime.Hours * 2048U | gTime.Minutes * 32U | gTime.Seconds / 2U);
		result=f_utime(fullfilename, &fno);
	}
}

void delete_file_handler(){
	if(SPI_buffer[1]+SPI_buffer[2]==0)
	{
		sprintf(filenametodelete,"FILE%04d.DAT", current_max_filenumber);
	}
	else
	{
		sprintf(filenametodelete,"FILE%04d.DAT", (SPI_buffer[1]<<8)+SPI_buffer[2]);
	}

	printf("deleting file %s\r\n", filenametodelete);
	if(f_unlink(filenametodelete) != FR_OK)  				//delete file
	{
		printf("FAIL: Cannot delete file\r\n");
	}
	else{
		printf("%s Deleted\r\n",filenametodelete);
	}
	current_max_filenumber=0;
	strcpy(full_path_name, "/");
	scan_for_latest_file(full_path_name);
}

void file_transfer_request_handler(){
	if(SPI_buffer[1]+SPI_buffer[2]==0)
	{
		sprintf(filenametosave,"FILE%04d.DAT", current_max_filenumber);
	}
	else
	{
		sprintf(filenametosave,"FILE%04d.DAT", (SPI_buffer[1]<<8)+SPI_buffer[2]);
	}

	printf("opening file %s to upload\r\n", filenametosave);
	if(f_open(&SDFile, filenametosave, FA_READ) != FR_OK)  				//Open file for reading and uploading
	{
		printf("FAIL: Cannot open file for reading uploading\r\n");
	}
	else
	{
		SPI_Buffer[0]=f_size(&SDFile);
		SPI_Buffer[1]=f_size(&SDFile)>>16;
		HAL_GPIO_WritePin(Acq_Busy_GPIO_Port, Acq_Busy_Pin, GPIO_PIN_RESET);  // Tell RASPI we are Ready
		HAL_SPI_Transmit(&hspi6, (uint8_t *)SPI_Buffer, 4, 5000);
		file_byte_count=0;
		HAL_GPIO_WritePin(Acq_Busy_GPIO_Port, Acq_Busy_Pin, GPIO_PIN_SET);  // Tell RASPI we are Busy

		while(!f_eof(&SDFile)){
			result = f_read(&SDFile, SPI_Buffer,2 , (void *)&bytes_read);
			file_byte_count++;
			SPI_Buffer[0]= filereadint;
			HAL_GPIO_WritePin(Acq_Busy_GPIO_Port, Acq_Busy_Pin, GPIO_PIN_RESET);  // Tell RASPI we are Ready
			HAL_SPI_Transmit(&hspi6, (uint8_t *)SPI_Buffer, 2, 50);
			HAL_GPIO_WritePin(Acq_Busy_GPIO_Port, Acq_Busy_Pin, GPIO_PIN_SET);  // Tell RASPI we are Busy
		}
	}
	HAL_GPIO_WritePin(Acq_Busy_GPIO_Port, Acq_Busy_Pin, GPIO_PIN_SET);  // Tell RASPI we are busy
	printf("%s Uploaded\r\n",filenametosave);
	f_close(&SDFile);
}

void save_request_handler(){
	if(SPI_buffer[1]+SPI_buffer[2]==0)
	{
		sprintf(filenametosave,"FILE%04d.DAT", current_max_filenumber);
	}
	else
	{
		sprintf(filenametosave,"FILE%04d.DAT", (SPI_buffer[1]<<8)+SPI_buffer[2]);
	}

	printf("opening file %s to upload\r\n", filenametosave);
	if(f_open(&SDFile, filenametosave, FA_READ) != FR_OK)  				//Open file for reading and uploading
	{
		printf("FAIL: Cannot open file for reading uploading\r\n");
	}
	else
	{
		SPI_Buffer[0]=f_size(&SDFile);
		SPI_Buffer[1]=f_size(&SDFile)>>16;
		HAL_GPIO_WritePin(Acq_Busy_GPIO_Port, Acq_Busy_Pin, GPIO_PIN_RESET);  // Tell RASPI we are Ready
		HAL_SPI_Transmit(&hspi6, (uint8_t *)SPI_Buffer, 4, 5000);
		file_byte_count=0;
		HAL_GPIO_WritePin(Acq_Busy_GPIO_Port, Acq_Busy_Pin, GPIO_PIN_SET);  // Tell RASPI we are Busy
		while(!f_eof(&SDFile)){
			result = f_read(&SDFile, &filereadint,2 , (void *)&bytes_read);
			if((bytes_read == 0) || (result != FR_OK))
			{
				printf("FAIL: Cannot read file to save upload\r\n");
			}
			else
			{
				file_byte_count++;
				filevalue=filereadint;
				if(file_byte_count>sizeof(wavfile_header_t)){
					filevalue = filereadint-32768;
					//filevalue = filereadint;
				}

				SPI_Buffer[0]= filevalue;
//				printf("%x %x %d\r\n",file_byte_count, filereadint, filereadint);
//				if(file_byte_count>200){
//					for(;;);
//				}
				HAL_GPIO_WritePin(Acq_Busy_GPIO_Port, Acq_Busy_Pin, GPIO_PIN_RESET);  // Tell RASPI we are Ready
				HAL_SPI_Transmit(&hspi6, (uint8_t *)SPI_Buffer, 2, 5000);
				HAL_GPIO_WritePin(Acq_Busy_GPIO_Port, Acq_Busy_Pin, GPIO_PIN_SET);  // Tell RASPI we are Busy
			}
		}
	}
	HAL_GPIO_WritePin(Acq_Busy_GPIO_Port, Acq_Busy_Pin, GPIO_PIN_SET);  // Tell RASPI we are busy
	printf("%s Uploaded\r\n",filenametosave);
	f_close(&SDFile);
}

void datetime_request_handler(){
	RTC_TimeTypeDef sTime;
	RTC_DateTypeDef sDate;
	sTime.Hours = SPI_buffer[1]; // set hours
	sTime.Minutes = SPI_buffer[2]; // set minutes
	sTime.Seconds = SPI_buffer[3]; // set seconds
	sTime.DayLightSaving = RTC_DAYLIGHTSAVING_NONE;
	sTime.StoreOperation = RTC_STOREOPERATION_RESET;
	if (HAL_RTC_SetTime(&hrtc, &sTime, RTC_FORMAT_BIN) != HAL_OK)
	{
		printf("FAIL: Problem setting time\r\n");
	}
	sDate.WeekDay = 4;
	sDate.Month = SPI_buffer[5];
	sDate.Date = SPI_buffer[6]; // date
	sDate.Year = SPI_buffer[7]; // year
	if (HAL_RTC_SetDate(&hrtc, &sDate, RTC_FORMAT_BIN) != HAL_OK)
	{
		printf("FAIL: Problem setting date\r\n");
	}
	HAL_RTCEx_BKUPWrite(&hrtc, RTC_BKP_DR1, 0x32F2); // backup register
	printf("DateTime Set Complete\r\n");
}

void directory_request_handler()
{
	HAL_RTC_GetTime(&hrtc, &gTime, RTC_FORMAT_BIN);				/* Get the RTC current Date */
	HAL_RTC_GetDate(&hrtc, &gDate, RTC_FORMAT_BIN);				/* Display time Format: hh:mm:ss */
	printf("RTC Date Time  %02d:%02d:%02d  %02d-%02d-%2d\r\n",gTime.Hours, gTime.Minutes, gTime.Seconds,gDate.Month,gDate.Date,2000 + gDate.Year);				/* Display date Format: dd-mm-yy */

	/* allocate memory for directory listing */
	SD_Directory2 = malloc( 100 * directory_lines++ );
	if( SD_Directory2 == NULL ) {
		printf("PANIC: unable to allocate required memory\r\n");
	}
	/* Get volume information and free clusters of drive 1 */
	result = f_getfree("0:", &fre_clust, &fs);
	if (result!= FR_OK){
		printf("PANIC: unable to determine free space on SD\r\n");
	}
	/* Get total sectors and free sectors */
	tot_sect = (fs->n_fatent - 2) * fs->csize;
	fre_sect = fre_clust * fs->csize;
	/* Print free space in unit of KB (assuming 512 bytes/sector) */
	sprintf(SD_space_description,"%lu KB total drive space.     %lu KB available.\r\n",tot_sect / 2, fre_sect / 2);
	strcpy( SD_Directory2, SD_space_description);

	/* Get directory contents */
	strcpy(full_path_name, "/");
	directory_lines=5;
	result= get_SD_directory(full_path_name);
	printf("%s", SD_Directory2);
	strcat( SD_Directory2, "\f");

	/* Send directory content to raspi */
	int buffer_index=0;
	do {
		SPI_Buffer[0]=SD_Directory2[buffer_index];
		HAL_GPIO_WritePin(Acq_Busy_GPIO_Port, Acq_Busy_Pin, GPIO_PIN_RESET);  // Tell RASPI we are Ready
		HAL_SPI_Transmit(&hspi6, (uint8_t *)SPI_Buffer, 1, 5000);
		HAL_GPIO_WritePin(Acq_Busy_GPIO_Port, Acq_Busy_Pin, GPIO_PIN_SET);  // Tell RASPI we are busy
	}
	while(SD_Directory2[buffer_index++] != 12);

	printf("Directory Uploaded\r\n");
	free(SD_Directory2);
}

void set_ADC_clock_prescalar(int sampling_fr){
	ADC_MultiModeTypeDef multimode = {0};
	switch(sampling_fr){
	case 800:
		hadc1.Init.ClockPrescaler = ADC_CLOCK_ASYNC_DIV4;
		break;
	case 533:
		hadc1.Init.ClockPrescaler = ADC_CLOCK_ASYNC_DIV6;
		break;
	case 400:
		hadc1.Init.ClockPrescaler = ADC_CLOCK_ASYNC_DIV8;
		break;
	case 320:
		hadc1.Init.ClockPrescaler = ADC_CLOCK_ASYNC_DIV10;
		break;
	case 266:
		hadc1.Init.ClockPrescaler = ADC_CLOCK_ASYNC_DIV12;
		break;
	case 200:
		hadc1.Init.ClockPrescaler = ADC_CLOCK_ASYNC_DIV16;
		break;
	case 100:
		hadc1.Init.ClockPrescaler = ADC_CLOCK_ASYNC_DIV32;
		break;
	case 50:
		hadc1.Init.ClockPrescaler = ADC_CLOCK_ASYNC_DIV64;
		break;
	case 25:
		hadc1.Init.ClockPrescaler = ADC_CLOCK_ASYNC_DIV128;
		break;
	case 12:
		hadc1.Init.ClockPrescaler = ADC_CLOCK_ASYNC_DIV256;
		break;
	}
	if (HAL_ADC_Init(&hadc1) != HAL_OK)
	{
		Error_Handler();
	}

	/** Configure the ADC multi-mode
	 */
	multimode.Mode = ADC_MODE_INDEPENDENT;
	if (HAL_ADCEx_MultiModeConfigChannel(&hadc1, &multimode) != HAL_OK)
	{
		Error_Handler();
	}

}

/*
 * Function to write header of WAV file
 */
/*Return 0 on success and -1 on failure*/
int write_wav_header(int32_t SampleRate,int32_t FrameCount)
{
	int ret=0;

	struct wavfile_header_s wav_header;
	int32_t subchunk2_size;
	int32_t chunk_size;

	//    size_t write_count;

	uint32_t bytes_written=0;

	FRESULT result; /* FatFs function common result code */

	subchunk2_size  = FrameCount * NUM_CHANNELS * BITS_PER_SAMPLE / 8;
	chunk_size      = 4 + (8 + SUBCHUNK1SIZE) + (8 + subchunk2_size);

	wav_header.ChunkID[0] = 'R';
	wav_header.ChunkID[1] = 'I';
	wav_header.ChunkID[2] = 'F';
	wav_header.ChunkID[3] = 'F';

	wav_header.ChunkSize = chunk_size;

	wav_header.Format[0] = 'W';
	wav_header.Format[1] = 'A';
	wav_header.Format[2] = 'V';
	wav_header.Format[3] = 'E';

	wav_header.Subchunk1ID[0] = 'f';
	wav_header.Subchunk1ID[1] = 'm';
	wav_header.Subchunk1ID[2] = 't';
	wav_header.Subchunk1ID[3] = ' ';

	wav_header.Subchunk1Size = SUBCHUNK1SIZE;
	wav_header.AudioFormat = AUDIO_FORMAT;
	wav_header.NumChannels = NUM_CHANNELS;
	wav_header.SampleRate = SampleRate;
	wav_header.ByteRate = BYTE_RATE;
	wav_header.BlockAlign = BLOCK_ALIGN;
	wav_header.BitsPerSample = BITS_PER_SAMPLE;

	wav_header.Subchunk2ID[0] = 'd';
	wav_header.Subchunk2ID[1] = 'a';
	wav_header.Subchunk2ID[2] = 't';
	wav_header.Subchunk2ID[3] = 'a';
	wav_header.Subchunk2Size = subchunk2_size;

	//Open file for writing (Create)
	result = f_write(&SDFile, &wav_header, sizeof(wavfile_header_t), (void *)&bytes_written);
	if((bytes_written == 0) || (result != FR_OK))
	{
		Error_Handler();
	}

	// Flush the file buffers
	result = f_sync(&SDFile);
	if(result != FR_OK)
	{
		Error_Handler();
	}
	return ret;
}

/* USER CODE END 4 */

void Error_Handler(void)
{
	__disable_irq();
	while (1)
	{
	}
}
